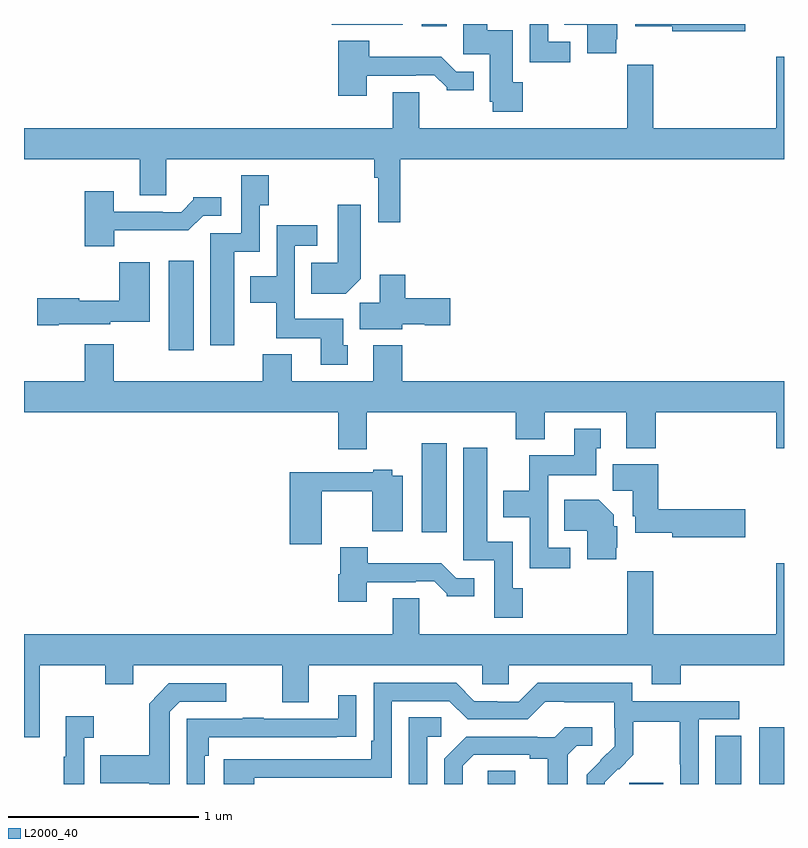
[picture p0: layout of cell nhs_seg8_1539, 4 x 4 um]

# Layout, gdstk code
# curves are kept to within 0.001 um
import gdstk
lib = gdstk.Library(unit=1e-6, precision=1e-09)
def R(c, l, rs):  # rectangles x0, y0, x1, y1
    for r in rs: c.add(gdstk.rectangle(r[:2], r[2:], *l))
def P(c, l, *ps):  # polygons
    for p in ps: c.add(gdstk.Polygon(p, *l))
L2000_40 = (2000, 40)

nhs_seg8_1539 = lib.new_cell('nhs_seg8_1539')
R(nhs_seg8_1539, L2000_40, [(211.44,1091.9,211.585,1091.969), (212.186,1091.9,212.365,1091.907), (212.639,1091.9,212.776,1092.155), (212.87,1091.9,213,1092.199), (211.094,1093.224,211.225,1093.693), (209.762,1094.184,209.893,1094.653), (211.094,1095.888,211.225,1095.9), (210.621,1095.896,210.994,1095.9)])
P(nhs_seg8_1539, L2000_40, [(211.625,1095.594),(211.573,1095.594),(211.573,1095.868),(211.438,1095.868),(211.438,1095.9),(211.313,1095.9),(211.313,1095.741),(211.451,1095.741),(211.451,1095.492),(211.468,1095.492),(211.468,1095.438),(211.625,1095.438)],
  [(212.797,1095.9),(212.216,1095.9),(212.216,1095.887),(212.412,1095.887),(212.412,1095.863),(212.797,1095.863)],
  [(212.117,1095.819),(212.122,1095.819),(212.122,1095.9),(211.843,1095.9),(211.843,1095.896),(211.964,1095.896),(211.964,1095.746),(212.117,1095.746)],
  [(211.876,1095.807),(211.758,1095.807),(211.758,1095.9),(211.662,1095.9),(211.662,1095.699),(211.876,1095.699)],
  [(210.805,1095.627),(211.061,1095.627),(211.061,1095.63),(211.16,1095.63),(211.224,1095.566),(211.224,1095.551),(211.366,1095.551),(211.366,1095.648),(211.275,1095.648),(211.197,1095.727),(210.818,1095.727),(210.818,1095.811),(210.653,1095.811),(210.653,1095.522),(210.805,1095.522)],
  [(210.98,1095.188),(213,1095.188),(213,1095.727),(212.96,1095.727),(212.96,1095.352),(212.312,1095.352),(212.312,1095.685),(212.176,1095.685),(212.176,1095.352),(211.081,1095.352),(211.081,1095.542),(210.941,1095.542),(210.941,1095.352),(209,1095.352),(209,1095.188),(209.609,1095.188),(209.609,1094.998),(209.749,1094.998),(209.749,1095.188),(210.844,1095.188),(210.844,1095.092),(210.864,1095.092),(210.864,1094.856),(210.98,1094.856)],
  [(210.106,1094.702),(210.24,1094.702),(210.24,1094.947),(210.288,1094.947),(210.288,1095.103),(210.144,1095.103),(210.144,1094.799),(209.981,1094.799),(209.981,1094.208),(210.106,1094.208)],
  [(209.476,1094.814),(209.865,1094.814),(209.943,1094.892),(210.037,1094.892),(210.037,1094.989),(209.892,1094.989),(209.892,1094.974),(209.828,1094.91),(209.729,1094.91),(209.729,1094.913),(209.473,1094.913),(209.473,1095.019),(209.321,1095.019),(209.321,1094.729),(209.476,1094.729)],
  [(210.772,1094.558),(210.772,1094.95),(210.65,1094.95),(210.65,1094.644),(210.511,1094.644),(210.511,1094.48),(210.694,1094.48)],
  [(210.703,1094.208),(210.679,1094.208),(210.679,1094.35),(210.426,1094.35),(210.426,1094.733),(210.544,1094.733),(210.544,1094.842),(210.33,1094.842),(210.33,1094.572),(210.191,1094.572),(210.191,1094.432),(210.328,1094.432),(210.328,1094.246),(210.563,1094.246),(210.563,1094.106),(210.703,1094.106)],
  [(209.182,1094.321),(209.454,1094.321),(209.454,1094.333),(209.662,1094.333),(209.662,1094.647),(209.5,1094.647),(209.5,1094.443),(209.292,1094.443),(209.292,1094.456),(209.07,1094.456),(209.07,1094.314),(209.182,1094.314)],
  [(210.99,1094.321),(211.11,1094.321),(211.11,1094.314),(211.243,1094.314),(211.243,1094.456),(211.007,1094.456),(211.007,1094.581),(210.872,1094.581),(210.872,1094.432),(210.767,1094.432),(210.767,1094.294),(210.99,1094.294)],
  [(210.805,1093.856),(211.589,1093.856),(211.589,1093.715),(211.741,1093.715),(211.741,1093.856),(212.171,1093.856),(212.171,1093.667),(212.324,1093.667),(212.324,1093.856),(212.96,1093.856),(212.96,1093.668),(213,1093.668),(213,1094.02),(210.992,1094.02),(210.992,1094.209),(210.839,1094.209),(210.839,1094.02),(210.409,1094.02),(210.409,1094.161),(210.257,1094.161),(210.257,1094.02),(209.473,1094.02),(209.473,1094.215),(209.321,1094.215),(209.321,1094.02),(209,1094.02),(209,1093.856),(210.653,1093.856),(210.653,1093.662),(210.805,1093.662)],
  [(211.876,1093.143),(211.758,1093.143),(211.758,1093.526),(212.011,1093.526),(212.011,1093.668),(212.035,1093.668),(212.035,1093.771),(211.895,1093.771),(211.895,1093.63),(211.66,1093.63),(211.66,1093.444),(211.523,1093.444),(211.523,1093.304),(211.662,1093.304),(211.662,1093.035),(211.876,1093.035)],
  [(211.625,1092.93),(211.572,1092.93),(211.572,1093.174),(211.438,1093.174),(211.438,1093.669),(211.313,1093.669),(211.313,1093.077),(211.476,1093.077),(211.476,1092.774),(211.625,1092.774)],
  [(212.797,1093.346),(212.339,1093.346),(212.339,1093.582),(212.099,1093.582),(212.099,1093.444),(212.204,1093.444),(212.204,1093.308),(212.216,1093.308),(212.216,1093.223),(212.412,1093.223),(212.412,1093.199),(212.797,1093.199)],
  [(210.568,1093.441),(210.832,1093.441),(210.832,1093.229),(210.994,1093.229),(210.994,1093.522),(210.939,1093.522),(210.939,1093.555),(210.839,1093.555),(210.839,1093.542),(210.398,1093.542),(210.398,1093.161),(210.568,1093.161)],
  [(212.117,1093.143),(212.122,1093.143),(212.122,1093.257),(212.104,1093.257),(212.104,1093.318),(212.026,1093.396),(211.843,1093.396),(211.843,1093.232),(211.964,1093.232),(211.964,1093.082),(212.117,1093.082)],
  [(210.805,1092.963),(211.061,1092.963),(211.061,1092.966),(211.16,1092.966),(211.224,1092.902),(211.224,1092.887),(211.369,1092.887),(211.369,1092.984),(211.275,1092.984),(211.197,1093.063),(210.808,1093.063),(210.808,1093.147),(210.665,1093.147),(210.665,1093.005),(210.653,1093.005),(210.653,1092.858),(210.805,1092.858)],
  [(209.083,1092.524),(209.428,1092.524),(209.428,1092.425),(209.575,1092.425),(209.575,1092.524),(210.359,1092.524),(210.359,1092.33),(210.499,1092.33),(210.499,1092.524),(211.413,1092.524),(211.413,1092.426),(211.551,1092.426),(211.551,1092.524),(212.303,1092.524),(212.303,1092.425),(212.456,1092.425),(212.456,1092.524),(213,1092.524),(213,1093.063),(212.96,1093.063),(212.96,1092.688),(212.312,1092.688),(212.312,1093.021),(212.176,1093.021),(212.176,1092.688),(211.081,1092.688),(211.081,1092.878),(210.941,1092.878),(210.941,1092.688),(209,1092.688),(209,1092.147),(209.083,1092.147)],
  [(210.212,1091.934),(210.936,1091.934),(210.936,1092.336),(211.239,1092.336),(211.335,1092.24),(211.65,1092.24),(211.743,1092.333),(211.843,1092.333),(211.843,1092.329),(212.106,1092.329),(212.106,1092.195),(212.108,1092.195),(212.108,1092.098),(211.962,1091.95),(211.962,1091.9),(212.057,1091.9),(212.057,1091.909),(212.127,1091.979),(212.13,1091.976),(212.207,1092.053),(212.207,1092.228),(212.452,1092.228),(212.452,1092.004),(212.454,1092.004),(212.454,1091.9),(212.55,1091.9),(212.55,1092.24),(212.764,1092.24),(212.764,1092.336),(212.202,1092.336),(212.202,1092.433),(211.705,1092.433),(211.605,1092.333),(211.49,1092.333),(211.49,1092.336),(211.371,1092.336),(211.275,1092.432),(210.84,1092.432),(210.84,1092.127),(210.827,1092.127),(210.827,1092.03),(210.051,1092.03),(210.051,1091.9),(210.212,1091.9)],
  [(209.766,1092.279),(209.82,1092.333),(210.064,1092.333),(210.064,1092.429),(209.763,1092.429),(209.658,1092.323),(209.658,1092.051),(209.401,1092.051),(209.401,1091.903),(209.658,1091.903),(209.658,1091.9),(209.766,1091.9)],
  [(209.952,1092.05),(209.972,1092.05),(209.972,1092.147),(210.647,1092.147),(210.647,1092.148),(210.749,1092.148),(210.749,1092.367),(210.653,1092.367),(210.653,1092.243),(210.263,1092.243),(210.263,1092.248),(210.151,1092.248),(210.151,1092.243),(209.856,1092.243),(209.856,1091.9),(209.952,1091.9)],
  [(209.316,1092.143),(209.368,1092.143),(209.368,1092.256),(209.219,1092.256),(209.219,1092.043),(209.208,1092.043),(209.208,1091.9),(209.316,1091.9)],
  [(211.122,1092.15),(211.195,1092.15),(211.195,1092.251),(211.026,1092.251),(211.026,1091.9),(211.122,1091.9)],
  [(211.309,1091.997),(211.366,1092.054),(211.661,1092.054),(211.661,1092.032),(211.757,1092.032),(211.757,1091.9),(211.861,1091.9),(211.861,1092.055),(211.908,1092.102),(211.99,1092.102),(211.99,1092.199),(211.846,1092.199),(211.794,1092.147),(211.7,1092.147),(211.7,1092.15),(211.328,1092.15),(211.212,1092.034),(211.212,1091.9),(211.309,1091.9)])

lib.write_gds('nhs_seg8_1539.gds')
